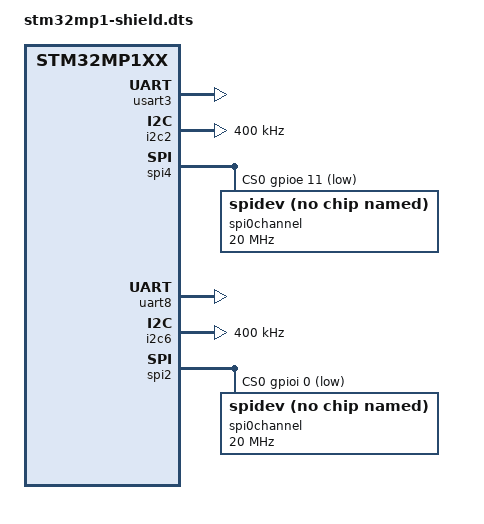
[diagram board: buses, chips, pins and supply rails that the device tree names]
/dts-v1/;
/plugin/;

/ {
	compatible = "olimex,stm32mp1xx-olinuxino-lime";
	description = "STM32MP1xx Lime shield";

	 fragment@0 {
                target = <&pinctrl>;
                __overlay__ {
                        usart3_pins_s: usart3-1 {
                                pins1 {
                                        pinmux = <0x3808>;/* PD8 USART3_TX */
                                        bias-disable;
                                        drive-push-pull;
                                        slew-rate = <0>;
                                };
                                pins2 {
                                        pinmux = <0x3908>; /* PD9 USART3_RX */
                                        bias-disable;
                                };
                        };
                        usart3_idle_pins_a: usart3-idle-0 {
                                pins1 {
                                        pinmux = <0x3811>; /* PD8 USART3_TX */
                                };
                                pins2 {
                                        pinmux = <0x3908>; /* PD9 USART3_RX */
                                        bias-disable;
                                };
                        };
                        usart3_sleep_pins_a: usart3-sleep-0 {
                                pins {
                                        pinmux = <0x3811 0x3911>;
                                };
                        };


			i2c2_pins_scl: i2c2-1 {
                                pins {
                                        pinmux = <0x7405>; /* PH4 PZ1*/
                                        bias-disable;                            /*pull disable*/
                                        drive-open-drain;                        /*open drain enable*/
                                        slew-rate = <0>;
                                };
                        };

                        i2c2_pins_sleep_scl: i2c2-xx {
                                pins {
                                        pinmux = <0x7411>;
                                };
                        };
			
			spi4_pins_s: spi4-1 {
                                pins1 {
                                        pinmux = < 0x4c06 0x4e06 >; /*SPI4_SCK PE12, SPI4_MOSI PE14*/
                                        bias-disable;
                                        drive-push-pull;
                                        slew-rate = <1>;
                                };

                                pins2 {
                                        pinmux = <0x4d06>; /* SPI4_MISO PE13*/
                                        bias-disable;
                                };
                        };

                        spi4_sleep_pins_s: spi4-sleep-1 {
                                pins {
                                        pinmux = <0x4c11 0x4d11 0x4e11 >;
                                };
                        };
			/*UEXT 2*/
			uart8_pins_s: uart8-1 {
                                pins1 {
                                        pinmux = <0x4109>;/* PE1 UART8_TX */
                                        bias-disable;
                                        drive-push-pull;
                                        slew-rate = <0>;
                                };
                                pins2 {
                                        pinmux = <0x4009>; /* PE0 UART8_RX */
                                        bias-disable;
                                };
                        };
                        uart8_sleep_pins_a: uart8-sleep-0 {
                                pins {
                                        pinmux = <0x4111 0x4011>;
                                };
                        };


			spi2_pins_s: spi2-1 {
                                pins1 {
                                        pinmux = < 0x8106 0x8306 >; /*SPI2_SCK PI1,SPI2_MOSI PI3*/
                                        bias-disable;
                                        drive-push-pull;
                                        slew-rate = <1>;
                                };

                                pins2 {
                                        pinmux = <0x8206>; /* SPI2_MISO PI2*/
                                        bias-disable;
                                };
                        };

                        spi2_sleep_pins_s: spi2-sleep-1 {
                                pins {
                                        pinmux = <0x8111 0x8211 0x8311 >;
                                };
                        };
			
                };    //end overlay

        }; //end fragment
	fragment@1 {
                target = <&pinctrl_z>;
                __overlay__ {
		
			i2c2_pins_sda: i2c2-1 {
                                pins {
                                        pinmux = <0x19104>; /* PH4 PZ1*/
                                        bias-disable;                            /*pull disable*/
                                        drive-open-drain;                        /*open drain enable*/
                                        slew-rate = <0>;
                                };
                        };

                        i2c2_pins_sleep_sda: i2c2-xx {
                                pins {
                                        pinmux = <0x19111>;
                                };
                        };
			
			 i2c6_pins_s: i2c6-1 {
                                pins {
                                        pinmux = <0x19603 0x19703>; /*I2C6_SCL PZ6, I2C7_SDA PZ07*/
                                        bias-disable;                            /*pull disable*/
                                        drive-open-drain;                        /*open drain enable*/
                                        slew-rate = <0>;
                                };
                        };

                        i2c6_pins_sleep_s: i2c6-xx {
                                pins {
                                        pinmux = <0x19611 0x19711>;
                                };
                        };


		};
	};

       fragment@2 {
                target = <&usart3>;
                __overlay__ {
                        pinctrl-names = "default";
                        pinctrl-0 = <&usart3_pins_s>;
                        pinctrl-1 = <&usart3_sleep_pins_a>;
                        pinctrl-2 = <&usart3_idle_pins_a>;
                        st,hw-flow-ctrl;
                        status = "okay";
                };
        };

        fragment@3 {
                target-path = "/aliases";
                __overlay__ {
                        serial3 = "/soc/serial@4000f000";
                };
        };

	fragment@4 {
                target = <&i2c2>;

                __overlay__ {
                        pinctrl-names = "default", "sleep";
                        pinctrl-0 = <&i2c2_pins_scl &i2c2_pins_sda>;
                        pinctrl-1 = <&i2c2_pins_sleep_scl &i2c2_pins_sleep_sda>;
                        i2c-scl-rising-time-ns = <185>;
                        i2c-scl-falling-time-ns = <20>;
                        clock-frequency = <400000>;
                        status = "okay";
                        /delete-property/dmas;
                        /delete-property/dma-names;
                };
        };
	
	fragment@5 {
                target = <&spi4>;
                __overlay__ {
                        #address-cells = <1>;
                        #size-cells = <0>;
                        pinctrl-names = "default", "sleep";
                        pinctrl-0 = <&spi4_pins_s>;
                        pinctrl-1 = <&spi4_sleep_pins_s>;
                        cs-gpios = <&gpioe 11 1>;
                        status = "okay";
                        spi0channel@0 {
                                #address-cells = <1>;
                                #size-cells = <0>;
                                compatible = "spidev";
                                reg = <0>;
                                spi-max-frequency = <20000000>;
                        };
                };
        };

	fragment@6 {
                target = <&uart8>;
                __overlay__ {
                        pinctrl-names = "default";
                        pinctrl-0 = <&uart8_pins_s>;
                        pinctrl-1 = <&uart8_sleep_pins_a>;
                       // pinctrl-2 = <&uart8_idle_pins_a>;
                        st,hw-flow-ctrl;
                        status = "okay";
                };
        };

        fragment@7 {
                target-path = "/aliases";
                __overlay__ {
                        serial8 = "/soc/serial@40019000";
                };
        };

	fragment@8 {
                target = <&i2c6>;
                __overlay__ {
                        pinctrl-names = "default", "sleep";
                        pinctrl-0 = <&i2c6_pins_s>;
                        pinctrl-1 = <&i2c6_pins_sleep_s>;
                        i2c-scl-rising-time-ns = <185>;
                        i2c-scl-falling-time-ns = <20>;
                        clock-frequency = <400000>;
                        status = "okay";
                        /delete-property/dmas;
                        /delete-property/dma-names;
                };
        };
	
	 fragment@9 {
                target = <&spi2>;
                __overlay__ {
                        #address-cells = <1>;
                        #size-cells = <0>;
                        pinctrl-names = "default", "sleep";
                        pinctrl-0 = <&spi2_pins_s>;
                        pinctrl-1 = <&spi2_sleep_pins_s>;
                        cs-gpios = <&gpioi 0 1>;
                        status = "okay";
                        spi0channel@0 {
                                #address-cells = <1>;
                                #size-cells = <0>;
                                compatible = "spidev";
                                reg = <0>;
                                spi-max-frequency = <20000000>;
                        };
                };
        };

};
	
